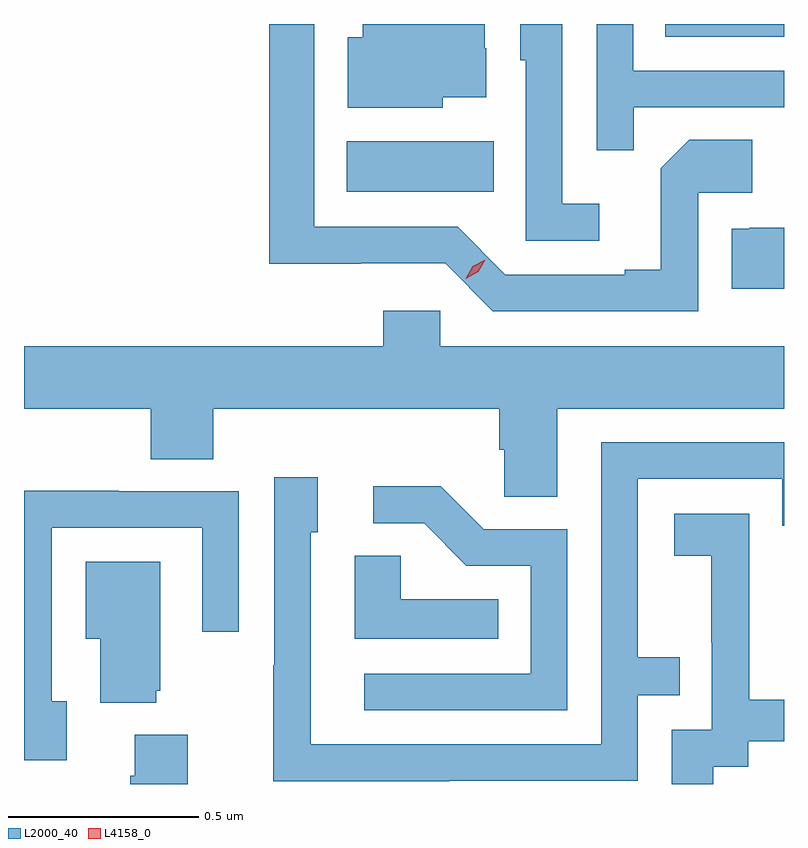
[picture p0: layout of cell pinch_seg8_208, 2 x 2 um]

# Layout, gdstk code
import gdstk
lib = gdstk.Library(unit=1e-6, precision=1e-09)
def R(c, l, rs):  # rectangles x0, y0, x1, y1
    for r in rs: c.add(gdstk.rectangle(r[:2], r[2:], *l))
def P(c, l, *ps):  # polygons
    for p in ps: c.add(gdstk.Polygon(p, *l))
L2000_40 = (2000, 40)
L4158_0 = (4158, 0)

pinch_seg8_208 = lib.new_cell('pinch_seg8_208')
R(pinch_seg8_208, L2000_40, [(622.883,1155.698,623.27,1155.832), (623.722,1156.107,624.034,1156.14)])
P(pinch_seg8_208, L2000_40, [(623.639,1155.921),(624.034,1155.921),(624.034,1156.017),(623.637,1156.017),(623.637,1156.14),(623.541,1156.14),(623.541,1155.808),(623.639,1155.808)],
  [(623.136,1155.947),(623.251,1155.947),(623.251,1156.076),(623.247,1156.076),(623.247,1156.14),(622.925,1156.14),(622.925,1156.105),(622.886,1156.105),(622.886,1155.92),(623.136,1155.92)],
  [(623.548,1155.667),(623.451,1155.667),(623.451,1156.14),(623.34,1156.14),(623.34,1156.044),(623.355,1156.044),(623.355,1155.57),(623.548,1155.57)],
  [(623.808,1155.696),(623.95,1155.696),(623.95,1155.836),(623.785,1155.836),(623.709,1155.76),(623.709,1155.493),(623.615,1155.493),(623.615,1155.48),(623.301,1155.48),(623.175,1155.606),(622.798,1155.606),(622.798,1156.14),(622.68,1156.14),(622.68,1155.509),(622.92,1155.509),(622.92,1155.51),(623.142,1155.51),(623.268,1155.384),(623.808,1155.384)],
  [(624.034,1155.604),(623.944,1155.604),(623.941,1155.601),(623.897,1155.601),(623.897,1155.443),(624.034,1155.443)],
  [(623.437,1155.128),(624.034,1155.128),(624.034,1155.292),(623.13,1155.292),(623.13,1155.385),(622.979,1155.385),(622.979,1155.292),(622.034,1155.292),(622.034,1155.128),(622.367,1155.128),(622.367,1154.995),(622.532,1154.995),(622.532,1155.128),(623.285,1155.128),(623.285,1155.019),(623.298,1155.019),(623.298,1154.896),(623.437,1154.896)],
  [(623.153,1154.148),(623.649,1154.148),(623.649,1154.373),(623.759,1154.373),(623.759,1154.474),(623.649,1154.474),(623.649,1154.943),(624.03,1154.943),(624.03,1154.82),(624.034,1154.82),(624.034,1155.039),(623.553,1155.039),(623.553,1154.244),(622.788,1154.244),(622.788,1154.802),(622.807,1154.802),(622.807,1154.947),(622.692,1154.947),(622.692,1154.453),(622.69,1154.453),(622.69,1154.147),(623.153,1154.147)],
  [(623.463,1154.811),(623.244,1154.811),(623.131,1154.924),(622.953,1154.924),(622.953,1154.826),(623.087,1154.826),(623.198,1154.715),(623.367,1154.715),(623.367,1154.43),(622.929,1154.43),(622.929,1154.334),(623.463,1154.334)],
  [(622.147,1154.358),(622.107,1154.358),(622.107,1154.814),(622.503,1154.814),(622.503,1154.541),(622.599,1154.541),(622.599,1154.91),(622.283,1154.91),(622.283,1154.912),(622.034,1154.912),(622.034,1154.202),(622.147,1154.202)],
  [(623.848,1154.185),(623.94,1154.185),(623.94,1154.253),(624.034,1154.253),(624.034,1154.362),(623.942,1154.362),(623.942,1154.645),(623.943,1154.645),(623.943,1154.851),(623.745,1154.851),(623.745,1154.741),(623.843,1154.741),(623.843,1154.513),(623.844,1154.513),(623.844,1154.283),(623.739,1154.283),(623.739,1154.14),(623.848,1154.14)],
  [(623.282,1154.626),(623.025,1154.626),(623.025,1154.741),(622.904,1154.741),(622.904,1154.522),(623.282,1154.522)],
  [(622.382,1154.385),(622.393,1154.385),(622.393,1154.725),(622.196,1154.725),(622.196,1154.522),(622.235,1154.522),(622.235,1154.354),(622.382,1154.354)],
  [(622.465,1154.269),(622.325,1154.269),(622.325,1154.162),(622.313,1154.162),(622.313,1154.14),(622.465,1154.14)])
P(pinch_seg8_208, L4158_0, [(623.197,1155.469),(623.197,1155.47),(623.215,1155.502),(623.248,1155.52),(623.248,1155.52),(623.248,1155.52),(623.23,1155.488),(623.197,1155.469)])

lib.write_gds('pinch_seg8_208.gds')
